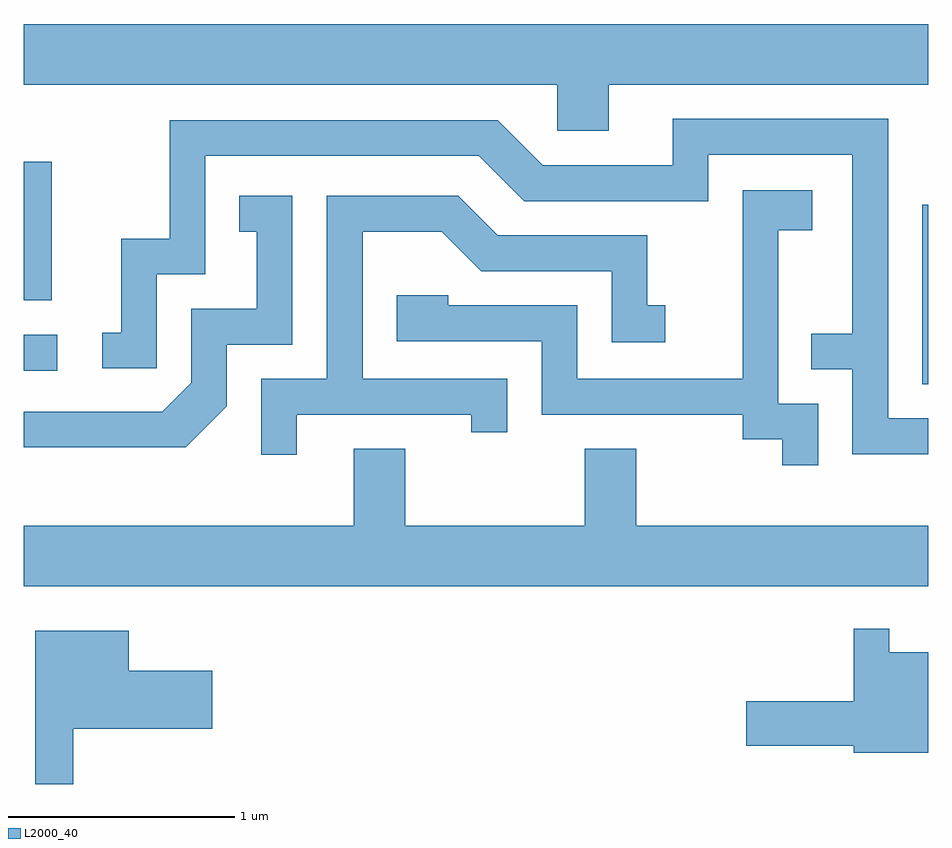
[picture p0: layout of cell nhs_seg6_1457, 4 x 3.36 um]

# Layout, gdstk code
import gdstk
lib = gdstk.Library(unit=1e-6, precision=1e-09)
def R(c, l, rs):  # rectangles x0, y0, x1, y1
    for r in rs: c.add(gdstk.rectangle(r[:2], r[2:], *l))
def P(c, l, *ps):  # polygons
    for p in ps: c.add(gdstk.Polygon(p, *l))
L2000_40 = (2000, 40)

nhs_seg6_1457 = lib.new_cell('nhs_seg6_1457')
R(nhs_seg6_1457, L2000_40, [(231.586,1661.931,231.611,1662.724), (227.611,1661.991,227.758,1662.149), (227.611,1662.301,227.734,1662.914)])
P(nhs_seg6_1457, L2000_40, [(230.199,1663.256),(231.611,1663.256),(231.611,1663.524),(227.611,1663.524),(227.611,1663.256),(229.971,1663.256),(229.971,1663.051),(230.199,1663.051)],
  [(231.611,1661.779),(231.434,1661.779),(231.434,1663.104),(230.481,1663.104),(230.481,1662.899),(229.907,1662.899),(229.707,1663.099),(228.256,1663.099),(228.256,1662.574),(228.041,1662.574),(228.041,1662.159),(227.958,1662.159),(227.958,1662.001),(228.199,1662.001),(228.199,1662.416),(228.414,1662.416),(228.414,1662.941),(229.624,1662.941),(229.824,1662.741),(230.639,1662.741),(230.639,1662.946),(231.276,1662.946),(231.276,1662.154),(231.093,1662.154),(231.093,1661.996),(231.276,1661.996),(231.276,1661.621),(231.611,1661.621)],
  [(231.124,1661.844),(230.949,1661.844),(230.949,1662.611),(231.099,1662.611),(231.099,1662.789),(230.791,1662.789),(230.791,1661.954),(230.059,1661.954),(230.059,1662.279),(229.489,1662.279),(229.489,1662.324),(229.261,1662.324),(229.261,1662.121),(229.901,1662.121),(229.901,1661.796),(230.791,1661.796),(230.791,1661.686),(230.966,1661.686),(230.966,1661.573),(231.124,1661.573)],
  [(228.509,1661.834),(228.509,1662.106),(228.799,1662.106),(228.799,1662.764),(228.563,1662.764),(228.563,1662.606),(228.641,1662.606),(228.641,1662.264),(228.351,1662.264),(228.351,1661.937),(228.224,1661.809),(227.611,1661.809),(227.611,1661.651),(228.327,1661.651)],
  [(228.819,1661.796),(229.591,1661.796),(229.591,1661.718),(229.749,1661.718),(229.749,1661.954),(229.109,1661.954),(229.109,1662.606),(229.459,1662.606),(229.634,1662.431),(230.211,1662.431),(230.211,1662.116),(230.448,1662.116),(230.448,1662.279),(230.369,1662.279),(230.369,1662.589),(229.707,1662.589),(229.532,1662.764),(228.951,1662.764),(228.951,1661.954),(228.661,1661.954),(228.661,1661.618),(228.819,1661.618)],
  [(231.611,1661.304),(230.319,1661.304),(230.319,1661.644),(230.091,1661.644),(230.091,1661.304),(229.299,1661.304),(229.299,1661.644),(229.071,1661.644),(229.071,1661.304),(227.611,1661.304),(227.611,1661.036),(231.611,1661.036)],
  [(231.611,1660.744),(231.439,1660.744),(231.439,1660.848),(231.281,1660.848),(231.281,1660.529),(230.806,1660.529),(230.806,1660.331),(231.281,1660.331),(231.281,1660.301),(231.611,1660.301)],
  [(227.829,1660.406),(228.444,1660.406),(228.444,1660.664),(228.074,1660.664),(228.074,1660.839),(227.661,1660.839),(227.661,1660.162),(227.829,1660.162)])

lib.write_gds('nhs_seg6_1457.gds')
